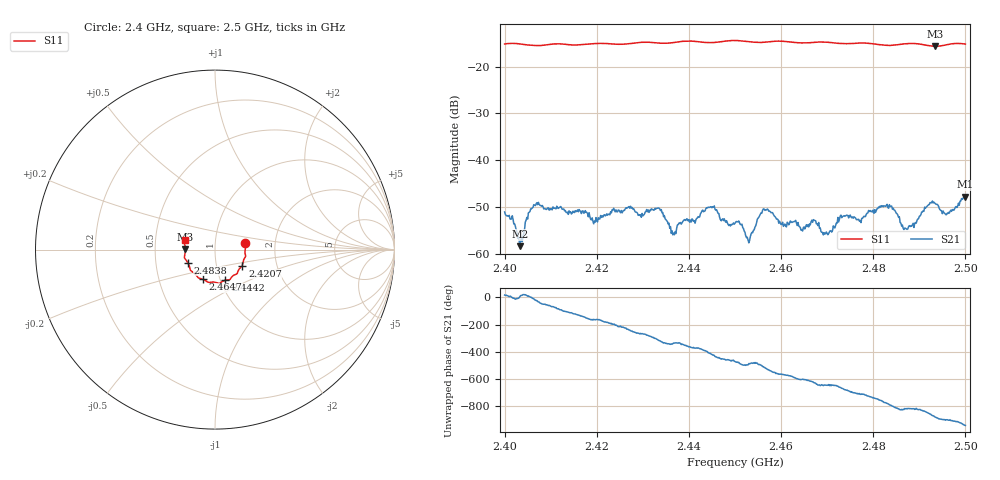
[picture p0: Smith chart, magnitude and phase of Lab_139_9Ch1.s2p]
# Hz S RI R 50
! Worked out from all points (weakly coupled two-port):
!   601 points, 2.4 GHz to 2.5 GHz, reference 50 ohm
!   highest |S21| = -47.80 dB at 2.5 GHz (marker M1); lowest = -58.3 dB at 2.4033 GHz (marker M2)
!   lowest |S11| = -15.7 dB at 2.4935 GHz (marker M3), VSWR 1.39, Z = 35.9 + j0.128 ohm
!   |S11| at or under -10 dB: start of sweep to end of sweep
!   S12 and S22 are empty: the file has one direction only
!   S11 on the Smith chart (normalised r, x): 2.4 GHz: 1.40, +0.11; 2.4207 GHz: 1.33, -0.25; 2.4442 GHz: 1.06, -0.37; 2.4647 GHz: 0.83, -0.28; 2.4838 GHz: 0.73, -0.11; 2.5 GHz: 0.71, +0.08
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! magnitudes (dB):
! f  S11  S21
! 2.4 GHz  -15.2  -51.0
! 2.4033 GHz  -15.2  -58.3
! 2.4068 GHz  -15.5  -49.4
! 2.4167 GHz  -15.3  -51.4
! 2.4207 GHz  -15.1  -52.5
! 2.4333 GHz  -15.0  -50.2
! 2.4367 GHz  -14.9  -55.6
! 2.4442 GHz  -14.9  -50.0
! 2.45 GHz  -14.4  -53.5
! 2.453 GHz  -14.7  -57.6
! 2.4567 GHz  -14.8  -50.6
! 2.4647 GHz  -15.0  -55.1
! 2.4667 GHz  -14.9  -52.8
! 2.4697 GHz  -14.8  -55.6
! 2.4733 GHz  -15.1  -52.0
! 2.4768 GHz  -15.0  -52.6
! 2.4833 GHz  -15.5  -50.2
! 2.4838 GHz  -15.5  -49.8
! 2.487 GHz  -15.1  -54.5
! 2.4935 GHz  -15.7  -49.3
! 2.496 GHz  -15.3  -51.4
! 2.5 GHz  -15.2  -47.8
